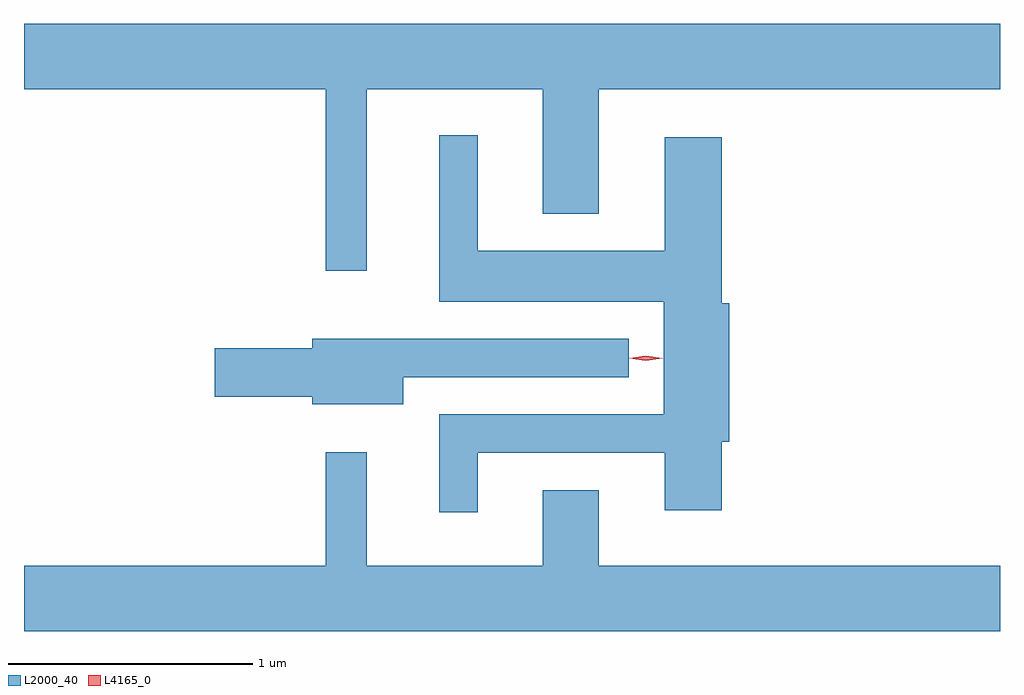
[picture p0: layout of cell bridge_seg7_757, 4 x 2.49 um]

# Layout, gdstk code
import gdstk
lib = gdstk.Library(unit=1e-6, precision=1e-09)
def P(c, l, *ps):  # polygons
    for p in ps: c.add(gdstk.Polygon(p, *l))
L2000_40 = (2000, 40)
L4165_0 = (4165, 0)

bridge_seg7_757 = lib.new_cell('bridge_seg7_757')
P(bridge_seg7_757, L2000_40, [(265.099,1803.116),(265.821,1803.116),(265.821,1802.606),(266.049,1802.606),(266.049,1803.116),(267.694,1803.116),(267.694,1803.384),(263.694,1803.384),(263.694,1803.116),(264.931,1803.116),(264.931,1802.373),(265.099,1802.373)],
  [(265.554,1801.626),(266.321,1801.626),(266.321,1801.391),(266.554,1801.391),(266.554,1801.671),(266.584,1801.671),(266.584,1802.239),(266.554,1802.239),(266.554,1802.919),(266.321,1802.919),(266.321,1802.454),(265.554,1802.454),(265.554,1802.928),(265.396,1802.928),(265.396,1802.246),(266.316,1802.246),(266.316,1801.784),(265.396,1801.784),(265.396,1801.383),(265.554,1801.383)],
  [(265.249,1801.936),(266.173,1801.936),(266.173,1802.094),(264.876,1802.094),(264.876,1802.054),(264.476,1802.054),(264.476,1801.856),(264.876,1801.856),(264.876,1801.826),(265.249,1801.826)],
  [(267.694,1801.164),(266.049,1801.164),(266.049,1801.474),(265.821,1801.474),(265.821,1801.164),(265.099,1801.164),(265.099,1801.628),(264.931,1801.628),(264.931,1801.164),(263.694,1801.164),(263.694,1800.896),(267.694,1800.896)])
P(bridge_seg7_757, L4165_0, [(266.243,1802.004),(266.174,1802.014),(266.174,1802.014),(266.174,1802.015),(266.243,1802.024),(266.312,1802.014),(266.312,1802.014),(266.312,1802.013)],
  [(266.242,1802.005),(266.178,1802.014),(266.177,1802.015),(266.178,1802.015),(266.242,1802.025),(266.307,1802.015),(266.307,1802.015),(266.307,1802.014)])

lib.write_gds('bridge_seg7_757.gds')
